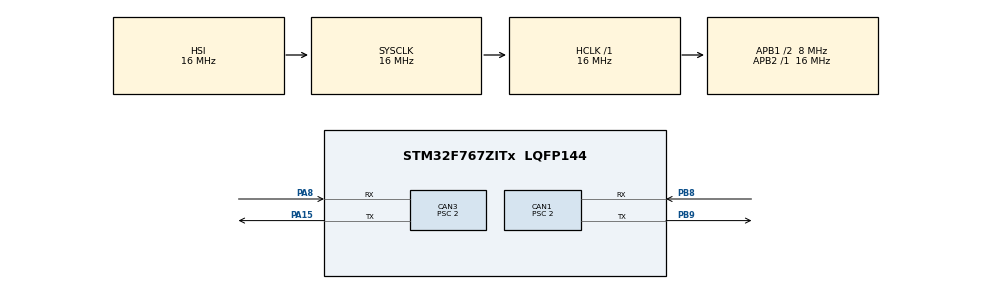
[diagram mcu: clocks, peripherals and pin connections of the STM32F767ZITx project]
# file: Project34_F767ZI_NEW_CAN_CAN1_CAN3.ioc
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CAN1.BS1=CAN_BS1_13TQ
CAN1.BS2=CAN_BS2_2TQ
CAN1.CalculateTimeQuantum=250.0
CAN1.Prescaler=2
CAN3.BS1=CAN_BS1_13TQ
CAN3.BS2=CAN_BS2_2TQ
CAN3.CalculateTimeQuantum=250.0
CAN3.Prescaler=2
Mcu.Family=STM32F7
Mcu.Name=STM32F767ZITx
Mcu.Package=LQFP144
NVIC.CAN1_RX0_IRQn=true\:0\:0\:false\:false\:true\:true\:true
NVIC.CAN3_RX0_IRQn=true\:0\:0\:false\:false\:true\:true\:true
NVIC.PriorityGroup=NVIC_PRIORITYGROUP_4
PA15.Mode=Master
PA15.Signal=CAN3_TX
PA8.Mode=Master
PA8.Signal=CAN3_RX
PB8.Mode=Master
PB8.Signal=CAN1_RX
PB9.Mode=Master
PB9.Signal=CAN1_TX
PH0/OSC_IN.Mode=HSE-External-Oscillator
PH0/OSC_IN.Signal=RCC_OSC_IN
PH1/OSC_OUT.Mode=HSE-External-Oscillator
PH1/OSC_OUT.Signal=RCC_OSC_OUT
ProjectManager.HeapSize=0x200
ProjectManager.StackSize=0x400
ProjectManager.TargetToolchain=EWARM V8
RCC.48MHZClocksFreq_Value=24000000
RCC.AHBFreq_Value=16000000
RCC.APB1CLKDivider=RCC_HCLK_DIV2
RCC.APB1Freq_Value=8000000
RCC.APB1TimFreq_Value=16000000
RCC.APB2Freq_Value=16000000
RCC.APB2TimFreq_Value=16000000
RCC.CortexFreq_Value=16000000
RCC.HCLKFreq_Value=16000000
RCC.HSE_VALUE=16000000
RCC.HSI_VALUE=16000000
RCC.LSE_VALUE=32768
RCC.PLLMUL=RCC_PLL_MUL9
RCC.PRESCALERUSB=RCC_USBCLKSOURCE_PLL_DIV1_5
RCC.SYSCLKFreq_VALUE=16000000
RCC.SYSCLKSourceVirtual=RCC_SYSCLKSOURCE_PLLCLK
RCC.USBFreq_Value=96000000
RCC.VCOOutputFreq_Value=192000000
board=NUCLEO-F767ZI

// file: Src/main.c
/* USER CODE BEGIN Header */
/**
  ******************************************************************************
  * @file           : main.c
  * @brief          : Main program body
  ******************************************************************************
  * @attention
  *
  * <h2><center>&copy; Copyright (c) 2021 STMicroelectronics.
  * All rights reserved.</center></h2>
  *
  * This software component is licensed by ST under BSD 3-Clause license,
  * the "License"; You may not use this file except in compliance with the
  * License. You may obtain a copy of the License at:
  *                        opensource.org/licenses/BSD-3-Clause
  *
  ******************************************************************************
  */
/* USER CODE END Header */

#include "main.h"

CAN_HandleTypeDef hcan1;
CAN_HandleTypeDef hcan3;

/* USER CODE BEGIN PV */
CAN_HandleTypeDef hcan1;
CAN_TxHeaderTypeDef pTxHeader;
CAN_RxHeaderTypeDef pRxHeader;
uint32_t pTxMailbox;
uint8_t a[]={'S', 'a', 'l', 'u', 't', 'C', 'A', '1'};
uint8_t r[8];
CAN_FilterTypeDef sFilterConfig;

CAN_HandleTypeDef hcan3;
CAN_TxHeaderTypeDef pTx3Header;
CAN_RxHeaderTypeDef pRx3Header;
uint32_t pTx3Mailbox;
uint8_t a3[]={'S', 'a', 'l', 'u', 't', 'C', 'A', '3'};
uint8_t r3[8];
CAN_FilterTypeDef sFilterConfig3;
/* USER CODE END PV */

void SystemClock_Config(void);
static void MX_GPIO_Init(void);
static void MX_CAN1_Init(void);
static void MX_CAN3_Init(void);

int main(void)
{

  /* MCU Configuration--------------------------------------------------------*/

  /* Reset of all peripherals, Initializes the Flash interface and the Systick. */
  HAL_Init();

  /* Configure the system clock */
  SystemClock_Config();

  /* Initialize all configured peripherals */
  MX_GPIO_Init();
  MX_CAN1_Init();
  MX_CAN3_Init();
  /* USER CODE BEGIN 2 */
pTx3Header.DLC = 8;
pTx3Header.IDE = CAN_ID_STD;
pTx3Header.RTR = CAN_RTR_DATA;
pTx3Header.StdId = 0x243;

sFilterConfig3.FilterFIFOAssignment = CAN_FILTER_FIFO0;
sFilterConfig3.FilterIdHigh = 0;
sFilterConfig3.FilterIdLow = 0;
sFilterConfig3.FilterMaskIdHigh = 0;
sFilterConfig3.FilterIdLow = 0;
sFilterConfig3.FilterScale = CAN_FILTERSCALE_32BIT;
sFilterConfig3.FilterActivation = ENABLE;

HAL_CAN_ConfigFilter(&hcan3, &sFilterConfig3);

pTxHeader.DLC = 8;
pTxHeader.IDE = CAN_ID_STD;
pTxHeader.RTR = CAN_RTR_DATA;
pTxHeader.StdId = 0x244;

sFilterConfig.FilterFIFOAssignment = CAN_FILTER_FIFO0;
sFilterConfig.FilterIdHigh = 0;
sFilterConfig.FilterIdLow = 0;
sFilterConfig.FilterMaskIdHigh = 0;
sFilterConfig.FilterIdLow = 0;
sFilterConfig.FilterScale = CAN_FILTERSCALE_32BIT;
sFilterConfig.FilterActivation = ENABLE;

HAL_CAN_ConfigFilter(&hcan1, &sFilterConfig);

HAL_CAN_Start(&hcan1);
HAL_CAN_Start(&hcan3);
HAL_CAN_ActivateNotification(&hcan1, CAN_IT_RX_FIFO0_MSG_PENDING);
HAL_CAN_ActivateNotification(&hcan3, CAN_IT_RX_FIFO0_MSG_PENDING);
  /* USER CODE END 2 */

  /* Infinite loop */
  /* USER CODE BEGIN WHILE */
  while (1)
  {
    for(int i=0;i<8;i++){
      a[i]++;
      a3[i]++;
    }
    HAL_CAN_AddTxMessage(&hcan1, &pTxHeader, a, &pTxMailbox);
    HAL_CAN_AddTxMessage(&hcan3, &pTx3Header, a3, &pTx3Mailbox);
    /* USER CODE END WHILE */

  }
}

void SystemClock_Config(void)
{
  RCC_OscInitTypeDef RCC_OscInitStruct = {0};
  RCC_ClkInitTypeDef RCC_ClkInitStruct = {0};

  /** Configure the main internal regulator output voltage
  */
  __HAL_RCC_PWR_CLK_ENABLE();
  __HAL_PWR_VOLTAGESCALING_CONFIG(PWR_REGULATOR_VOLTAGE_SCALE3);
  /** Initializes the CPU, AHB and APB busses clocks
  */
  RCC_OscInitStruct.OscillatorType = RCC_OSCILLATORTYPE_HSI;
  RCC_OscInitStruct.HSIState = RCC_HSI_ON;
  RCC_OscInitStruct.HSICalibrationValue = RCC_HSICALIBRATION_DEFAULT;
  RCC_OscInitStruct.PLL.PLLState = RCC_PLL_NONE;
  if (HAL_RCC_OscConfig(&RCC_OscInitStruct) != HAL_OK)
  {
    Error_Handler();
  }
  /** Initializes the CPU, AHB and APB busses clocks
  */
  RCC_ClkInitStruct.ClockType = RCC_CLOCKTYPE_HCLK|RCC_CLOCKTYPE_SYSCLK
                              |RCC_CLOCKTYPE_PCLK1|RCC_CLOCKTYPE_PCLK2;
  RCC_ClkInitStruct.SYSCLKSource = RCC_SYSCLKSOURCE_HSI;
  RCC_ClkInitStruct.AHBCLKDivider = RCC_SYSCLK_DIV1;
  RCC_ClkInitStruct.APB1CLKDivider = RCC_HCLK_DIV2;
  RCC_ClkInitStruct.APB2CLKDivider = RCC_HCLK_DIV1;

  if (HAL_RCC_ClockConfig(&RCC_ClkInitStruct, FLASH_LATENCY_0) != HAL_OK)
  {
    Error_Handler();
  }
}

static void MX_CAN1_Init(void)
{

  hcan1.Instance = CAN1;
  hcan1.Init.Prescaler = 2;
  hcan1.Init.Mode = CAN_MODE_NORMAL;
  hcan1.Init.SyncJumpWidth = CAN_SJW_1TQ;
  hcan1.Init.TimeSeg1 = CAN_BS1_13TQ;
  hcan1.Init.TimeSeg2 = CAN_BS2_2TQ;
  hcan1.Init.TimeTriggeredMode = DISABLE;
  hcan1.Init.AutoBusOff = DISABLE;
  hcan1.Init.AutoWakeUp = DISABLE;
  hcan1.Init.AutoRetransmission = DISABLE;
  hcan1.Init.ReceiveFifoLocked = DISABLE;
  hcan1.Init.TransmitFifoPriority = DISABLE;
  if (HAL_CAN_Init(&hcan1) != HAL_OK)
  {
    Error_Handler();
  }

}

static void MX_CAN3_Init(void)
{

  hcan3.Instance = CAN3;
  hcan3.Init.Prescaler = 2;
  hcan3.Init.Mode = CAN_MODE_NORMAL;
  hcan3.Init.SyncJumpWidth = CAN_SJW_1TQ;
  hcan3.Init.TimeSeg1 = CAN_BS1_13TQ;
  hcan3.Init.TimeSeg2 = CAN_BS2_2TQ;
  hcan3.Init.TimeTriggeredMode = DISABLE;
  hcan3.Init.AutoBusOff = DISABLE;
  hcan3.Init.AutoWakeUp = DISABLE;
  hcan3.Init.AutoRetransmission = DISABLE;
  hcan3.Init.ReceiveFifoLocked = DISABLE;
  hcan3.Init.TransmitFifoPriority = DISABLE;
  if (HAL_CAN_Init(&hcan3) != HAL_OK)
  {
    Error_Handler();
  }

}

static void MX_GPIO_Init(void)
{

  /* GPIO Ports Clock Enable */
  __HAL_RCC_GPIOH_CLK_ENABLE();
  __HAL_RCC_GPIOA_CLK_ENABLE();
  __HAL_RCC_GPIOB_CLK_ENABLE();

}

void Error_Handler(void)
{
}

/************************ (C) COPYRIGHT STMicroelectronics *****END OF FILE****/
